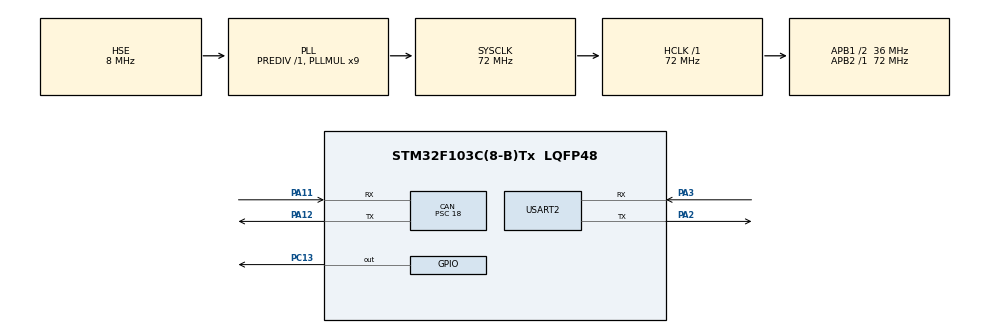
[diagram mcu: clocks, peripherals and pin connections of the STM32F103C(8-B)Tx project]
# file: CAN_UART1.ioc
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CAN.BS1=CAN_BS1_12TQ
CAN.BS2=CAN_BS2_3TQ
CAN.CalculateBaudRate=125000
CAN.CalculateTimeBit=8000.00
CAN.CalculateTimeQuantum=500.0
CAN.Prescaler=18
Mcu.Family=STM32F1
Mcu.Name=STM32F103C(8-B)Tx
Mcu.Package=LQFP48
NVIC.CAN1_RX1_IRQn=true\:0\:0\:false\:false\:true\:true\:true
NVIC.PriorityGroup=NVIC_PRIORITYGROUP_4
NVIC.USART2_IRQn=true\:0\:0\:false\:false\:true\:true\:true
PA11.Mode=CAN_Activate
PA11.Signal=CAN_RX
PA12.Mode=CAN_Activate
PA12.Signal=CAN_TX
PA13.Mode=Serial_Wire
PA13.Signal=SYS_JTMS-SWDIO
PA14.Mode=Serial_Wire
PA14.Signal=SYS_JTCK-SWCLK
PA2.Mode=Asynchronous
PA2.Signal=USART2_TX
PA3.Mode=Asynchronous
PA3.Signal=USART2_RX
PC13-TAMPER-RTC.Signal=GPIO_Output
PC14-OSC32_IN.Mode=LSE-External-Oscillator
PC14-OSC32_IN.Signal=RCC_OSC32_IN
PC15-OSC32_OUT.Mode=LSE-External-Oscillator
PC15-OSC32_OUT.Signal=RCC_OSC32_OUT
PD0-OSC_IN.Mode=HSE-External-Oscillator
PD0-OSC_IN.Signal=RCC_OSC_IN
PD1-OSC_OUT.Mode=HSE-External-Oscillator
PD1-OSC_OUT.Signal=RCC_OSC_OUT
ProjectManager.HeapSize=0x200
ProjectManager.StackSize=0x400
ProjectManager.TargetToolchain=STM32CubeIDE
RCC.AHBFreq_Value=72000000
RCC.APB1CLKDivider=RCC_HCLK_DIV2
RCC.APB1Freq_Value=36000000
RCC.APB1TimFreq_Value=72000000
RCC.APB2Freq_Value=72000000
RCC.APB2TimFreq_Value=72000000
RCC.HCLKFreq_Value=72000000
RCC.PLLMUL=RCC_PLL_MUL9
RCC.PLLSourceVirtual=RCC_PLLSOURCE_HSE
RCC.SYSCLKFreq_VALUE=72000000
RCC.SYSCLKSource=RCC_SYSCLKSOURCE_PLLCLK
RCC.USBFreq_Value=72000000
USART2.VirtualMode=VM_ASYNC
board=custom

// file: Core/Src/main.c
/* USER CODE BEGIN Header */
/**
  ******************************************************************************
  * @file           : main.c
  * @brief          : Main program body
  ******************************************************************************
  * @attention
  *
  * <h2><center>&copy; Copyright (c) 2021 STMicroelectronics.
  * All rights reserved.</center></h2>
  *
  * This software component is licensed by ST under BSD 3-Clause license,
  * the "License"; You may not use this file except in compliance with the
  * License. You may obtain a copy of the License at:
  *                        opensource.org/licenses/BSD-3-Clause
  *
  ******************************************************************************
  */
/* USER CODE END Header */
#include "main.h"

/* USER CODE BEGIN Includes */

#include <stdint.h> // uint8_t ....
#include <stdio.h>  // sprintf()
#include <string.h> // tratamento de string

/* USER CODE END Includes */

CAN_HandleTypeDef hcan;

UART_HandleTypeDef huart2;

void SystemClock_Config(void);
static void MX_GPIO_Init(void);
static void MX_CAN_Init(void);
static void MX_USART2_UART_Init(void);

/* USER CODE BEGIN 0 */

CAN_TxHeaderTypeDef TxHeader;
CAN_RxHeaderTypeDef RxHeader;

uint8_t TxData[8];
uint8_t RxData[8];

uint8_t PcData[4];

uint8_t TxBuff[8];
uint8_t RxBuff[8];

uint32_t TxMailbox;

int datacheck = 0;

long int tick; //Variavel a ser usada na dunção de contagem de tempo

void HAL_CAN_RxFifo1MsgPendingCallback(CAN_HandleTypeDef *hcan) //Função para recebimento de mensagens via CAN
{
	HAL_CAN_GetRxMessage(hcan, CAN_RX_FIFO1, &RxHeader, RxData); // Recebendo mensagens da rede CAN

	if (RxHeader.StdId == 0x025) // Verificando se o ID da mensagem recebida é o esperado
	{
		PcData[0]= 0; //Gravando o Valor do ID em um vetor
		PcData[1]= 0;
		PcData[2]= 2;
		PcData[3]= 5;

		datacheck = 1; // Variavel para indicar que uma mensagem foi recebida
	}
}

/* USER CODE END 0 */

int main(void)
{

  /* MCU Configuration--------------------------------------------------------*/

  /* Reset of all peripherals, Initializes the Flash interface and the Systick. */
  HAL_Init();

  /* Configure the system clock */
  SystemClock_Config();

  /* Initialize all configured peripherals */
  MX_GPIO_Init();
  MX_CAN_Init();
  MX_USART2_UART_Init();
  /* USER CODE BEGIN 2 */

  HAL_CAN_Start(&hcan);

  // Activate the notification
  HAL_CAN_ActivateNotification(&hcan, CAN_IT_RX_FIFO1_MSG_PENDING);

  TxHeader.DLC = 8;  // Quantidade de bytes para envio de mensagens neste caso foram usados os 8
  TxHeader.IDE = CAN_ID_STD; // Indicação do tipo de ID neste caso ID Standard
  TxHeader.RTR = CAN_RTR_DATA;
  TxHeader.StdId = 0x005;  // ID  do dispositivo

  tick = HAL_GetTick(); // Variavel para função da contagem do tempo

  for (int i=0; i<8; i++) // Zerando os vetores de string que armazenaram os dados de UART
  {
	  RxBuff[i] = 0x00;
	  TxBuff[i] = 0x00;
  }

  /* USER CODE END 2 */

  /* Infinite loop */
  /* USER CODE BEGIN WHILE */
  while (1)
  {

	  HAL_UART_Receive_IT(&huart2, RxBuff, 8); // Função que recebe dados que possam ter sido enviados via UART

	  for (int i=0; i<8; i++) // Transferindo os dados do buffer de recebimento para a string de envio para CAN
	  {
			TxData[i] = RxBuff[i];
	  }

	  if (HAL_GetTick() - tick > 1000) // Função para contagem de tempo
	  {

		  HAL_GPIO_TogglePin(GPIOC, GPIO_PIN_13); // Alternando o estado do LED

		  HAL_CAN_AddTxMessage(&hcan, &TxHeader, TxData, &TxMailbox); // enviando a mensagem para rede CAN

		  tick = HAL_GetTick(); // Zerando variavel

	  }

    /* USER CODE END WHILE */

    /* USER CODE BEGIN 3 */
	  if (datacheck)
	  {

		  HAL_GPIO_TogglePin(GPIOB, GPIO_PIN_13); // Alternando o estado do LED

		  char msg[90] = {0x00}; // String para montegem da mensagem do Bytes de dados
		  char ID[40] = {0x00}; // String para montegem da mensagem do ID

		  sprintf(ID,"\n\r\n\r ID: %xx%x%x%x \n\r",PcData[0],PcData[1],PcData[2],PcData[3]); // Montando a mensagem do ID em um sprintf

		  HAL_UART_Transmit(&huart2, (uint8_t*) ID, sizeof(ID), 1000) //Enviando a mensagem do ID para ser exibido via UART em um terminal

		  sprintf(msg,"\n\r D1 : %X \n\r D2 : %X \n\r D3 : %X \n\r D4 : %X \n\r D5 : %X \n\r D6 : %X \n\r D7 : %X \n\r D8 : %X \n\r",
		  RxData[0],RxData[1],RxData[2],RxData[3],RxData[4],RxData[5],RxData[6],RxData[7]); // Montando a mensagem dos Bytes em um sprintf

		  HAL_UART_Transmit(&huart2, (uint8_t*) msg, sizeof(msg), 1000); //Enviando a mensagem dos Bytes para ser exibido via UART em um terminal

		  HAL_GPIO_TogglePin(GPIOC, GPIO_PIN_13); // Alternando o estado do LED

		  datacheck = 0; // Zerando a variavel de indicação

	  }

  }
  /* USER CODE END 3 */
}

void SystemClock_Config(void)
{
  RCC_OscInitTypeDef RCC_OscInitStruct = {0};
  RCC_ClkInitTypeDef RCC_ClkInitStruct = {0};

  /** Initializes the RCC Oscillators according to the specified parameters
  * in the RCC_OscInitTypeDef structure.
  */
  RCC_OscInitStruct.OscillatorType = RCC_OSCILLATORTYPE_HSE;
  RCC_OscInitStruct.HSEState = RCC_HSE_ON;
  RCC_OscInitStruct.HSEPredivValue = RCC_HSE_PREDIV_DIV1;
  RCC_OscInitStruct.HSIState = RCC_HSI_ON;
  RCC_OscInitStruct.PLL.PLLState = RCC_PLL_ON;
  RCC_OscInitStruct.PLL.PLLSource = RCC_PLLSOURCE_HSE;
  RCC_OscInitStruct.PLL.PLLMUL = RCC_PLL_MUL9;
  if (HAL_RCC_OscConfig(&RCC_OscInitStruct) != HAL_OK)
  {
    Error_Handler();
  }
  /** Initializes the CPU, AHB and APB buses clocks
  */
  RCC_ClkInitStruct.ClockType = RCC_CLOCKTYPE_HCLK|RCC_CLOCKTYPE_SYSCLK
                              |RCC_CLOCKTYPE_PCLK1|RCC_CLOCKTYPE_PCLK2;
  RCC_ClkInitStruct.SYSCLKSource = RCC_SYSCLKSOURCE_PLLCLK;
  RCC_ClkInitStruct.AHBCLKDivider = RCC_SYSCLK_DIV1;
  RCC_ClkInitStruct.APB1CLKDivider = RCC_HCLK_DIV2;
  RCC_ClkInitStruct.APB2CLKDivider = RCC_HCLK_DIV1;

  if (HAL_RCC_ClockConfig(&RCC_ClkInitStruct, FLASH_LATENCY_2) != HAL_OK)
  {
    Error_Handler();
  }
}

static void MX_CAN_Init(void)
{

  hcan.Instance = CAN1;
  hcan.Init.Prescaler = 18;
  hcan.Init.Mode = CAN_MODE_NORMAL;
  hcan.Init.SyncJumpWidth = CAN_SJW_1TQ;
  hcan.Init.TimeSeg1 = CAN_BS1_12TQ;
  hcan.Init.TimeSeg2 = CAN_BS2_3TQ;
  hcan.Init.TimeTriggeredMode = DISABLE;
  hcan.Init.AutoBusOff = DISABLE;
  hcan.Init.AutoWakeUp = DISABLE;
  hcan.Init.AutoRetransmission = DISABLE;
  hcan.Init.ReceiveFifoLocked = DISABLE;
  hcan.Init.TransmitFifoPriority = DISABLE;
  if (HAL_CAN_Init(&hcan) != HAL_OK)
  {
    Error_Handler();
  }
  /* USER CODE BEGIN CAN_Init 2 */

  CAN_FilterTypeDef canfilterconfig;

  canfilterconfig.FilterActivation = CAN_FILTER_ENABLE;
  canfilterconfig.FilterBank = 7;  // which filter bank to use from the assigned ones
  canfilterconfig.FilterFIFOAssignment = CAN_FILTER_FIFO1;
  canfilterconfig.FilterIdHigh = 0;
  canfilterconfig.FilterIdLow = 0;
  canfilterconfig.FilterMaskIdHigh = 0;
  canfilterconfig.FilterMaskIdLow = 0x0000;
  canfilterconfig.FilterMode = CAN_FILTERMODE_IDMASK;
  canfilterconfig.FilterScale = CAN_FILTERSCALE_32BIT;
  canfilterconfig.SlaveStartFilterBank = 0;  // doesn't matter in single can controllers

  HAL_CAN_ConfigFilter(&hcan, &canfilterconfig);

  /* USER CODE END CAN_Init 2 */

}

static void MX_USART2_UART_Init(void)
{

  huart2.Instance = USART2;
  huart2.Init.BaudRate = 115200;
  huart2.Init.WordLength = UART_WORDLENGTH_8B;
  huart2.Init.StopBits = UART_STOPBITS_1;
  huart2.Init.Parity = UART_PARITY_NONE;
  huart2.Init.Mode = UART_MODE_TX_RX;
  huart2.Init.HwFlowCtl = UART_HWCONTROL_NONE;
  huart2.Init.OverSampling = UART_OVERSAMPLING_16;
  if (HAL_UART_Init(&huart2) != HAL_OK)
  {
    Error_Handler();
  }

}

static void MX_GPIO_Init(void)
{
  GPIO_InitTypeDef GPIO_InitStruct = {0};

  /* GPIO Ports Clock Enable */
  __HAL_RCC_GPIOC_CLK_ENABLE();
  __HAL_RCC_GPIOD_CLK_ENABLE();
  __HAL_RCC_GPIOA_CLK_ENABLE();

  /*Configure GPIO pin Output Level */
  HAL_GPIO_WritePin(GPIOC, GPIO_PIN_13, GPIO_PIN_RESET);

  /*Configure GPIO pin : PC13 */
  GPIO_InitStruct.Pin = GPIO_PIN_13;
  GPIO_InitStruct.Mode = GPIO_MODE_OUTPUT_PP;
  GPIO_InitStruct.Pull = GPIO_NOPULL;
  GPIO_InitStruct.Speed = GPIO_SPEED_FREQ_LOW;
  HAL_GPIO_Init(GPIOC, &GPIO_InitStruct);

}

void Error_Handler(void)
{
  __disable_irq();
  while (1)
  {
  }
}

/************************ (C) COPYRIGHT STMicroelectronics *****END OF FILE****/
